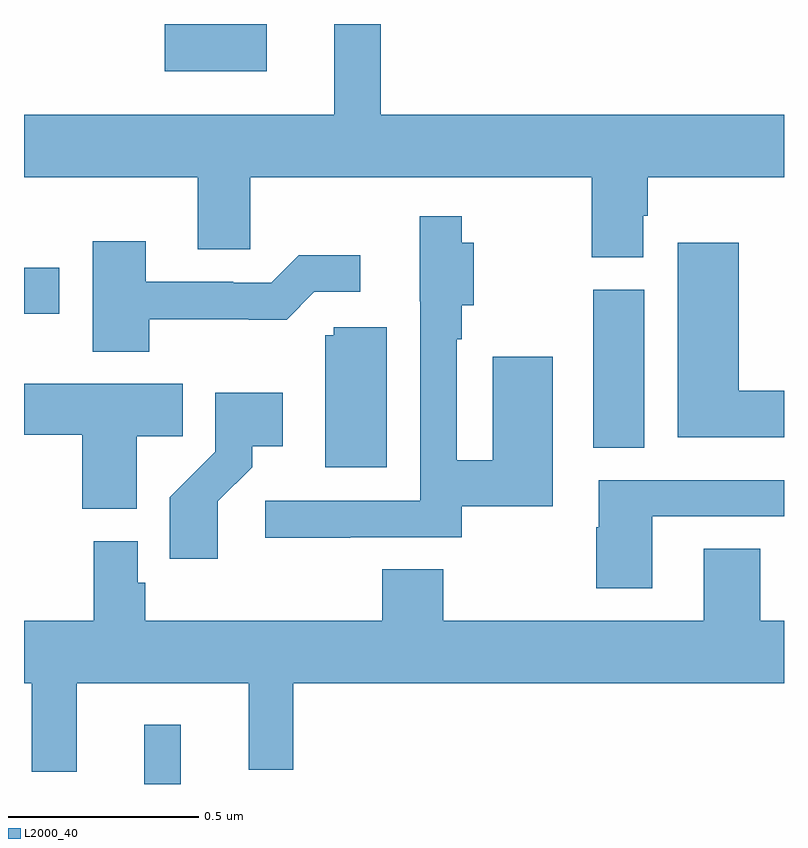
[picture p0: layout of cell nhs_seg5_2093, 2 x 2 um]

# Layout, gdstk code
import gdstk
lib = gdstk.Library(unit=1e-6, precision=1e-09)
def R(c, l, rs):  # rectangles x0, y0, x1, y1
    for r in rs: c.add(gdstk.rectangle(r[:2], r[2:], *l))
def P(c, l, *ps):  # polygons
    for p in ps: c.add(gdstk.Polygon(p, *l))
L2000_40 = (2000, 40)

nhs_seg5_2093 = lib.new_cell('nhs_seg5_2093')
R(nhs_seg5_2093, L2000_40, [(139.316,885.799,139.413,885.955), (140.498,886.684,140.632,887.1), (139,887.036,139.093,887.158), (139.37,887.675,139.639,887.799)])
P(nhs_seg5_2093, L2000_40, [(140.629,887.295),(140.642,887.295),(140.642,887.396),(141,887.396),(141,887.56),(139.939,887.56),(139.939,887.799),(139.817,887.799),(139.817,887.56),(139,887.56),(139,887.396),(139.457,887.396),(139.457,887.206),(139.596,887.206),(139.596,887.396),(140.494,887.396),(140.494,887.185),(140.629,887.185)],
  [(139.859,886.449),(140.152,886.449),(140.152,886.53),(140.392,886.53),(140.392,886.924),(140.234,886.924),(140.234,886.651),(140.139,886.651),(140.139,886.97),(140.152,886.97),(140.152,887.059),(140.184,887.059),(140.184,887.224),(140.152,887.224),(140.152,887.293),(140.042,887.293),(140.042,887.07),(140.043,887.07),(140.043,886.545),(139.635,886.545),(139.635,886.447),(139.859,886.447)],
  [(139.329,887.022),(139.592,887.022),(139.592,887.021),(139.691,887.021),(139.764,887.094),(139.885,887.094),(139.885,887.191),(139.723,887.191),(139.65,887.118),(139.55,887.118),(139.55,887.121),(139.321,887.121),(139.321,887.227),(139.181,887.227),(139.181,886.937),(139.329,886.937)],
  [(141,886.834),(140.881,886.834),(140.881,887.224),(140.72,887.224),(140.72,886.712),(141,886.712)],
  [(139.954,887.001),(139.815,887.001),(139.815,886.98),(139.793,886.98),(139.793,886.632),(139.954,886.632)],
  [(139.297,886.714),(139.418,886.714),(139.418,886.852),(139,886.852),(139,886.718),(139.153,886.718),(139.153,886.523),(139.297,886.523)],
  [(139.51,886.543),(139.6,886.633),(139.6,886.688),(139.681,886.688),(139.681,886.828),(139.503,886.828),(139.503,886.673),(139.384,886.554),(139.384,886.392),(139.51,886.392)],
  [(140.653,886.503),(141,886.503),(141,886.599),(140.513,886.599),(140.513,886.475),(140.506,886.475),(140.506,886.314),(140.653,886.314)],
  [(139,886.064),(139.021,886.064),(139.021,885.831),(139.139,885.831),(139.139,886.064),(139.592,886.064),(139.592,885.836),(139.709,885.836),(139.709,886.064),(141,886.064),(141,886.228),(140.937,886.228),(140.937,886.418),(140.789,886.418),(140.789,886.228),(140.103,886.228),(140.103,886.364),(139.943,886.364),(139.943,886.228),(139.319,886.228),(139.319,886.329),(139.299,886.329),(139.299,886.438),(139.183,886.438),(139.183,886.228),(139,886.228)])

lib.write_gds('nhs_seg5_2093.gds')
